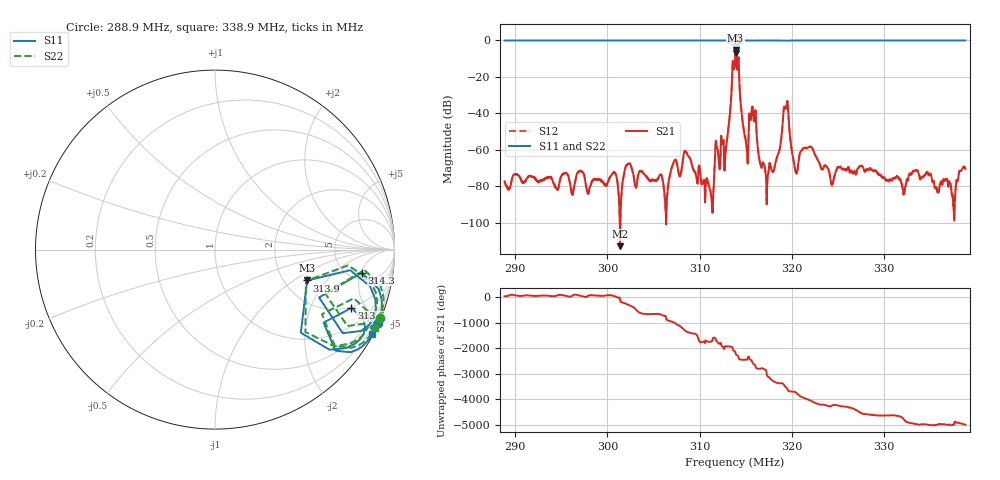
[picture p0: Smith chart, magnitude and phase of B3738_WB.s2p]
! Matrix data file written by TouchstoneData, EPCOS AG
! FILENAME: "B3738_WB.s2p"
! COMMENT: "PINNING 1/4; PORTEX1 93PS; PORTEX2 179.5PS;"
! INFO: nport=2, nfreq=1601
! DATE: "Wed Sep 19 14:43:11 2012"
! USER: "Wilfried Schott"
! port | pin | signal
!  1  |  1  |  IN
!  2  |  4  |  OUT
# MHZ S MA R 50
! freq  magS11 angS11  magS21 angS21  magS12 angS12  magS22 angS22
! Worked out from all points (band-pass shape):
!   1601 points, 288.9 MHz to 338.9 MHz, reference 50 ohm
!   highest |S21| = -6.76 dB at 313.9 MHz (marker M1); lowest = -113.0 dB at 301.4 MHz (marker M2)
!   |S21| within 3 dB of the highest: 313.8603 MHz to 313.9547 MHz (94.35 kHz wide, 0.0301 % of centre); 314.217 MHz to 314.2303 MHz (13.22 kHz wide, 0.00421 % of centre)
!   lowest |S11| = -5.3 dB at 313.9 MHz (marker M3), VSWR 3.36, Z = 133 - j64.7 ohm
!   |S11| at or under -10 dB: nowhere
!   |S22| runs from -5.4 to -0.1 dB; largest |S21 - S12| = 0.0011
!   S11 on the Smith chart (normalised r, x): 288.9 MHz: 0.05, -4.63; 313.6 MHz: 1.94, -3.99; 313.9 MHz: 2.65, -1.29; 314.3 MHz: 6.33, -5.16; 338.9 MHz: 0.05, -3.98
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288.85  0.9955 -24.4  0.000136 39.8  0.0001367 39.8  0.9936 -22.5
297.1938  0.9952 -25.1  0.0002515 52.3  0.0002444 53.0  0.9933 -23.2
301.3813  0.9951 -25.5  2.246e-06 -107.8  6.166e-06 -33.4  0.9932 -23.6
302.2563  0.9947 -25.6  0.0004146 70.8  0.0004034 70.0  0.9929 -23.7
305.5375  0.9951 -26.0  0.0001648 73.4  0.0001745 70.2  0.9934 -24.0
308.5375  0.9935 -26.3  0.0008745 107.8  0.0008715 107.9  0.9916 -24.4
311.3188  0.9949 -27.0  4.506e-05 76.1  4.565e-05 79.3  0.9931 -25.1
312.9125  0.9941 -28.7  0.001378 -120.1  0.001366 -120.6  0.9921 -26.7
313.6313  0.827 -23.2  0.252 102.4  0.2515 102.4  0.8202 -19.3
313.85  0.8476 -41.2  0.29 30.8  0.2891 30.8  0.8571 -39.0
313.9125  0.5416 -18.5  0.4594 -33.0  0.4585 -33.1  0.5356 -19.0
314.2563  0.8276 -8.9  0.2294 119.7  0.2289 119.7  0.8403 -7.8
315.0375  0.9946 -24.5  0.001637 70.7  0.001637 70.8  0.9929 -22.5
315.8813  0.9931 -25.2  0.00644 -101.6  0.006439 -101.6  0.9908 -23.2
317.2563  0.994 -26.0  9.687e-05 -21.8  9.91e-05 -19.7  0.9924 -24.0
318.225  0.9929 -26.3  0.0004258 -88.6  0.00042 -87.9  0.9919 -24.3
319.35  0.9886 -26.3  0.01319 85.2  0.01316 85.2  0.9833 -24.3
320.4125  0.9933 -26.3  0.0002563 -120.8  0.0002473 -120.1  0.9918 -24.3
322.1938  0.9918 -26.5  0.00113 -117.2  0.001123 -117.2  0.9907 -24.5
324.3813  0.9948 -26.8  0.0001132 79.2  0.0001017 79.2  0.9932 -24.8
330.5375  0.995 -27.4  0.0001382 49.8  0.0001482 47.9  0.9933 -25.3
338.85  0.9943 -28.2  0.0002977 44.0  0.000295 42.8  0.9924 -26.0
